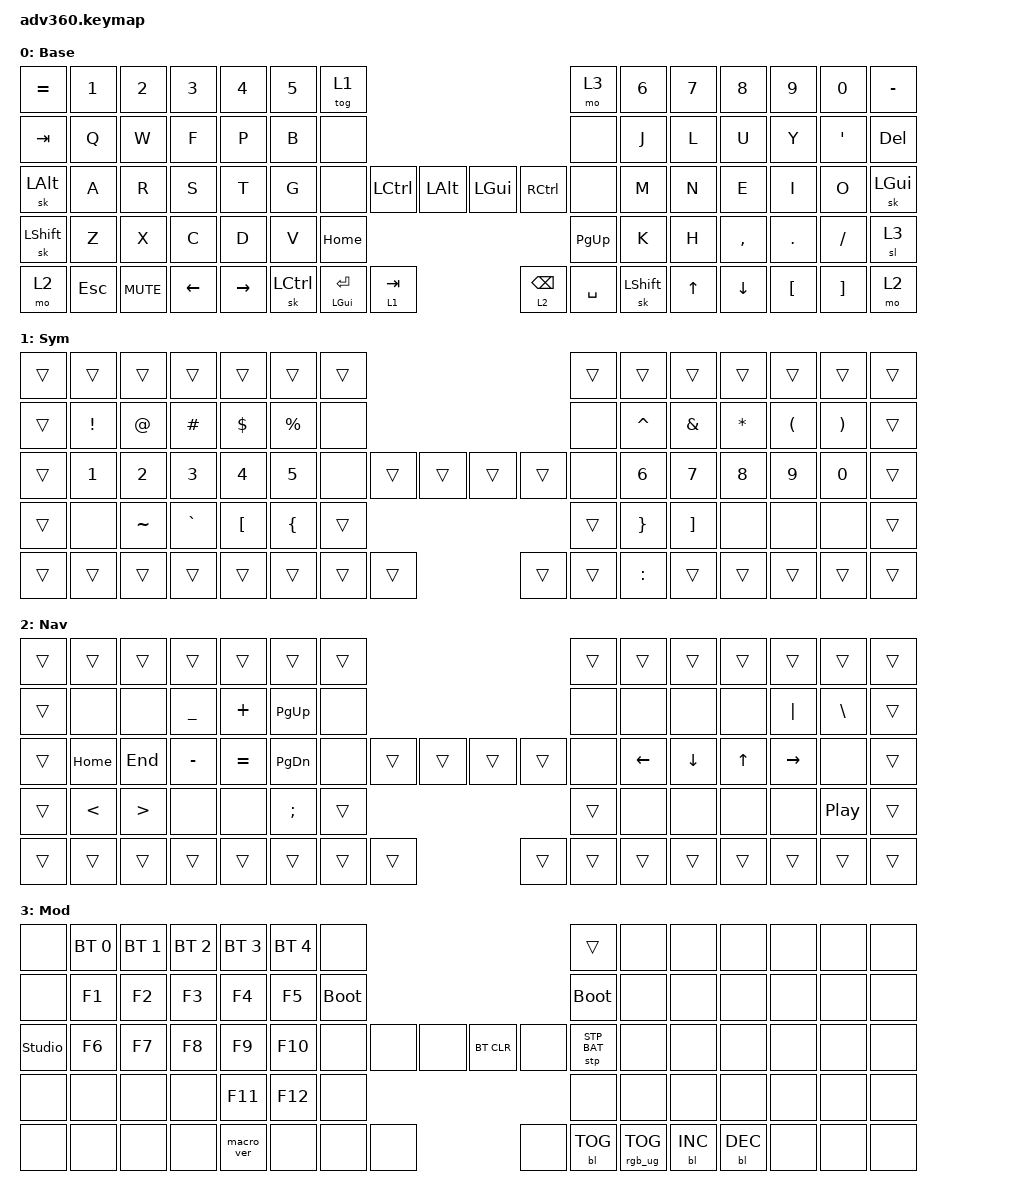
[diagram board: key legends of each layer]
#include <behaviors.dtsi>
#include <dt-bindings/zmk/keys.h>
#include <dt-bindings/zmk/bt.h>
#include <dt-bindings/zmk/rgb.h>
#include <dt-bindings/zmk/stp.h>
#include <dt-bindings/zmk/backlight.h>
#include <dt-bindings/zmk/pointing.h>

/ {
    behaviors {
      #include "macros.dtsi"
      #include "version.dtsi"

      hm: homerow_mods {
          compatible = "zmk,behavior-hold-tap";
          label = "HOMEROW_MODS";
          #binding-cells = <2>;
          tapping-term-ms = <200>;
          quick_tap_ms = <175>;
          flavor = "tap-preferred";
          bindings = <&kp>, <&kp>;
      };
    };

    combos {
      compatible = "zmk,combos";
      combo_esc_left {
        timeout-ms = <50>;
        key-positions = <31 32>;
        bindings = <&kp ESC>;
        layers = <0>;
      };
      combo_esc_right {
        timeout-ms = <50>;
        key-positions = <41 42>;
        bindings = <&kp ESC>;
        layers = <0>;
      };
    };

  keymap {
    compatible = "zmk,keymap";

    default_layer {
      display-name = "Base";
      bindings = <
        &kp EQUAL &kp N1    &kp N2    &kp N3   &kp N4     &kp N5 &tog 1                                                                  &mo 3  &kp N6 &kp N7    &kp N8    &kp N9   &kp N0   &kp MINUS
        &kp TAB   &kp Q     &kp W     &kp F    &kp P      &kp B  &none                                                                   &none  &kp J  &kp L     &kp U     &kp Y    &kp SQT  &kp DEL
        &sk LALT  &kp A     &kp R     &kp S    &kp T      &kp G  &none           &kp LCTRL &kp LALT  &kp LGUI  &kp RCTRL                  &none  &kp M  &kp N     &kp E     &kp I    &kp O    &sk LGUI
        &sk LSHFT &kp Z     &kp X     &kp C    &kp D      &kp V                             &kp HOME  &kp PG_UP                                  &kp K  &kp H     &kp COMMA &kp DOT  &kp FSLH &sl 3
        &mo 2     &kp ESC   &kp C_MUTE &kp LEFT &kp RIGHT              &sk LCTRL &hm LGUI ENTER &lt 1 TAB  &lt 2 BSPC &kp SPACE &sk LSHFT              &kp UP &kp DOWN  &kp LBKT &kp RBKT &mo 2
      >;
    };
    sym {
      display-name = "Sym";
      bindings = <
        &trans    &trans    &trans    &trans    &trans     &trans &trans                                                                    &trans &trans    &trans    &trans    &trans   &trans   &trans
        &trans    &kp EXCL  &kp AT    &kp HASH &kp DLLR   &kp PRCNT &none                                                                &none  &kp CARET &kp AMPS  &kp ASTRK &kp LPAR &kp RPAR &trans
        &trans    &kp N1    &kp N2    &kp N3   &kp N4     &kp N5 &none           &trans    &trans    &trans    &trans                      &none  &kp N6    &kp N7    &kp N8    &kp N9   &kp N0   &trans
        &trans    &none     &kp TILDE &kp GRAVE &kp LBKT  &kp LBRC                          &trans    &trans                                      &kp RBRC  &kp RBKT  &none     &none    &none    &trans
        &trans    &trans    &trans    &trans    &trans                   &trans &trans &trans  &trans &trans &kp COLON                                &trans    &trans    &trans    &trans   &trans
      >;
    };
    nav {
      display-name = "Nav";
      bindings = <
        &trans    &trans    &trans    &trans      &trans     &trans &trans                                                                    &trans &trans    &trans    &trans    &trans   &trans   &trans
        &trans    &none     &none     &kp UNDER   &kp PLUS   &kp PG_UP &none                                                                &none  &none     &none    &none  &kp PIPE  &kp BSLH    &trans
        &trans    &kp HOME  &kp END   &kp MINUS   &kp EQUAL  &kp PG_DN &none           &trans    &trans    &trans    &trans                  &none  &kp LEFT &kp DOWN &kp UP    &kp RIGHT &none &trans
        &trans    &kp LT    &kp GT    &none       &none      &kp SEMI                             &trans    &trans                                  &none     &none     &none     &none    &kp C_PP &trans
        &trans    &trans    &trans    &trans      &trans                      &trans &trans &trans  &trans &trans &trans                                &trans    &trans    &trans    &trans   &trans
      >;
    };
    mod {
      display-name = "Mod";
      bindings = <
        &none &bt BT_SEL 0 &bt BT_SEL 1 &bt BT_SEL 2 &bt BT_SEL 3 &bt BT_SEL 4 &none                                                                     &trans                 &none        &none        &none        &none &none &none
        &none &kp F1       &kp F2       &kp F3       &kp F4       &kp F5       &bootloader                                                               &bootloader            &none        &none        &none        &none &none &none
        &studio_unlock &kp F6 &kp F7   &kp F8       &kp F9       &kp F10      &none                   &none &none &bt BT_CLR &none                      &stp STP_BAT &none        &none        &none        &none &none &none
        &none &none        &none        &none        &kp F11      &kp F12                                    &none &none                                                        &none        &none        &none        &none &none &none
        &none &none        &none        &none        &macro_ver                                  &none &none &none &none      &bl BL_TOG &rgb_ug RGB_TOG                                     &bl BL_INC   &bl BL_DEC   &none &none &none
      >;
    };
    extra1 { 
      display-name = "Red";    
      status = "reserved";
    };

    extra2 { 
      display-name = "Purple";    
      status = "reserved";
    };

    extra3 { 
      display-name = "Cyan";    
      status = "reserved";
    };

    extra4 { 
      display-name = "Yellow";    
      status = "reserved";
    };
  };
};
